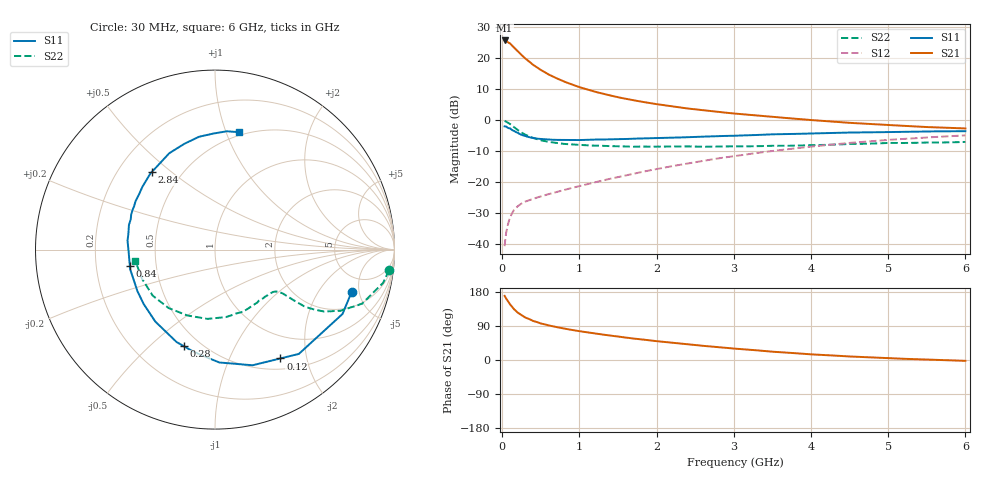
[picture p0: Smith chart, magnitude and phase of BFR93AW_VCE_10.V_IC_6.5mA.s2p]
! Infineon Technologies  Discrete & RF Semiconductors
! BFR93AW
! VCE =  10. V,  IC =  6.5 mA
! Common Emitter S-Parameters:  Nov 2015
# GHz  S  MA  R  50
!  f  S11  S21  S12  S22
! GHz  MAG  ANG  MAG  ANG  MAG  ANG  MAG  ANG
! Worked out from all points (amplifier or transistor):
!   206 points, 30 MHz to 6 GHz, reference 50 ohm
!   highest |S21| = 25.8 dB at 30 MHz (marker M1)
!   |S21| within 3 dB of that: start of sweep to 180.9 MHz
!   unconditionally stable (mu >= 1): 884.5 MHz to 2.207 GHz
!   at 200 MHz: K = 0.36, MSG = 25.0 dB, |S12| = -27.7 dB
!   at 1.56 GHz: K = 1.08, MAG = 10.9 dB, |S12| = -18.0 dB
!   at 6 GHz: K = 0.89, MSG = 1.1 dB, |S12| = -4.9 dB
!   S11 on the Smith chart (normalised r, x): 30 MHz: 3.27, -4.20; 120 MHz: 0.65, -1.57; 280 MHz: 0.41, -0.64; 840 MHz: 0.35, -0.08; 2.84 GHz: 0.34, +0.43; 6 GHz: 0.47, +1.11
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0.03  0.7973 -17.1  19.47 169.2  0.0093 79.4  0.9764 -6.8
0.05  0.7958 -26.8  19.2 162.0  0.0153 76.6  0.9549 -11.2
0.1  0.7457 -51.2  17.44 146.7  0.0272 66.3  0.8733 -20.2
0.12  0.7074 -59.0  16.41 142.1  0.0305 62.9  0.8342 -22.4
0.15  0.6776 -72.0  15.08 134.2  0.0355 58.9  0.778 -26.0
0.2  0.6294 -87.8  13.05 125.0  0.041 54.0  0.6988 -29.6
0.24  0.5895 -98.6  11.63 119.3  0.0446 51.6  0.6461 -31.1
0.28  0.5652 -108.0  10.46 114.4  0.0475 50.1  0.6044 -32.1
0.3  0.5576 -112.6  9.912 111.9  0.0489 49.5  0.5853 -32.5
0.4  0.5209 -129.7  7.85 103.0  0.0542 48.8  0.5177 -32.8
0.5  0.5002 -142.4  6.493 96.4  0.0593 50.3  0.4747 -32.9
0.6  0.4905 -151.7  5.499 91.3  0.0643 52.2  0.4492 -32.9
0.84  0.4831 -169.0  4.047 81.6  0.0775 56.9  0.4131 -34.5
1.04  0.4818 -179.1  3.314 74.8  0.0892 60.1  0.398 -36.8
1.2  0.4898 174.1  2.893 69.9  0.0998 62.3  0.3908 -39.2
1.5  0.4988 164.0  2.356 61.8  0.121 65.1  0.3823 -44.8
2.02  0.5184 148.3  1.81 49.3  0.1651 67.2  0.3759 -56.7
2.84  0.5582 129.2  1.352 33.1  0.2473 64.9  0.3779 -76.9
3.1  0.5685 123.3  1.257 28.7  0.2746 63.0  0.3802 -84.0
4.1  0.6171 104.4  0.99 13.9  0.3871 53.5  0.399 -116.0
5.1  0.6489 89.6  0.828 3.9  0.492 41.3  0.4305 -146.5
6  0.668 78.4  0.74 -2.2  0.5718 30.1  0.4482 -172.0
